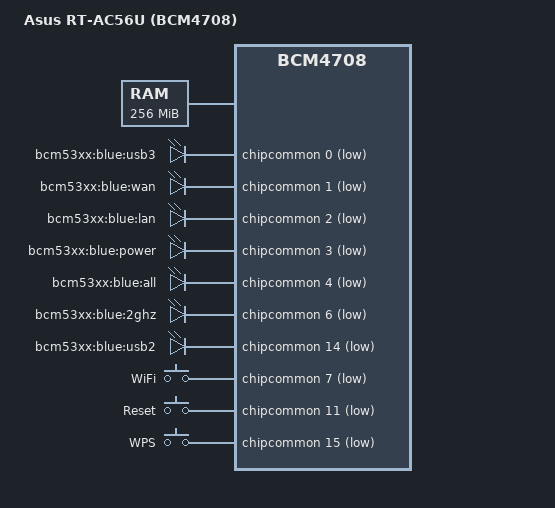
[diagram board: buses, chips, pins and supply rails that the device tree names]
// SPDX-License-Identifier: GPL-2.0-or-later OR MIT
/*
 * Broadcom BCM470X / BCM5301X ARM platform code.
 * DTS for Asus RT-AC56U
 *
 * Copyright (C) 2015 Rafał Miłecki <zajec5@gmail.com>
 */

/dts-v1/;

#include "bcm4708.dtsi"
#include "bcm5301x-nand-cs0-bch8.dtsi"

/ {
	compatible = "asus,rt-ac56u", "brcm,bcm4708";
	model = "Asus RT-AC56U (BCM4708)";

	chosen {
		bootargs = "console=ttyS0,115200";
	};

	memory {
		reg = <0x00000000 0x08000000
		       0x88000000 0x08000000>;
	};

	leds {
		compatible = "gpio-leds";

		usb3 {
			label = "bcm53xx:blue:usb3";
			gpios = <&chipcommon 0 GPIO_ACTIVE_LOW>;
		};

		wan {
			label = "bcm53xx:blue:wan";
			gpios = <&chipcommon 1 GPIO_ACTIVE_LOW>;
		};

		lan {
			label = "bcm53xx:blue:lan";
			gpios = <&chipcommon 2 GPIO_ACTIVE_LOW>;
		};

		power {
			label = "bcm53xx:blue:power";
			gpios = <&chipcommon 3 GPIO_ACTIVE_LOW>;
			linux,default-trigger = "default-on";
		};

		all {
			label = "bcm53xx:blue:all";
			gpios = <&chipcommon 4 GPIO_ACTIVE_LOW>;
			linux,default-trigger = "default-on";
		};

		2ghz {
			label = "bcm53xx:blue:2ghz";
			gpios = <&chipcommon 6 GPIO_ACTIVE_LOW>;
		};


		usb2 {
			label = "bcm53xx:blue:usb2";
			gpios = <&chipcommon 14 GPIO_ACTIVE_LOW>;
		};
	};

	gpio-keys {
		compatible = "gpio-keys";
		#address-cells = <1>;
		#size-cells = <0>;

		rfkill {
			label = "WiFi";
			linux,code = <KEY_RFKILL>;
			gpios = <&chipcommon 7 GPIO_ACTIVE_LOW>;
		};

		restart {
			label = "Reset";
			linux,code = <KEY_RESTART>;
			gpios = <&chipcommon 11 GPIO_ACTIVE_LOW>;
		};

		wps {
			label = "WPS";
			linux,code = <KEY_WPS_BUTTON>;
			gpios = <&chipcommon 15 GPIO_ACTIVE_LOW>;
		};
	};
};
